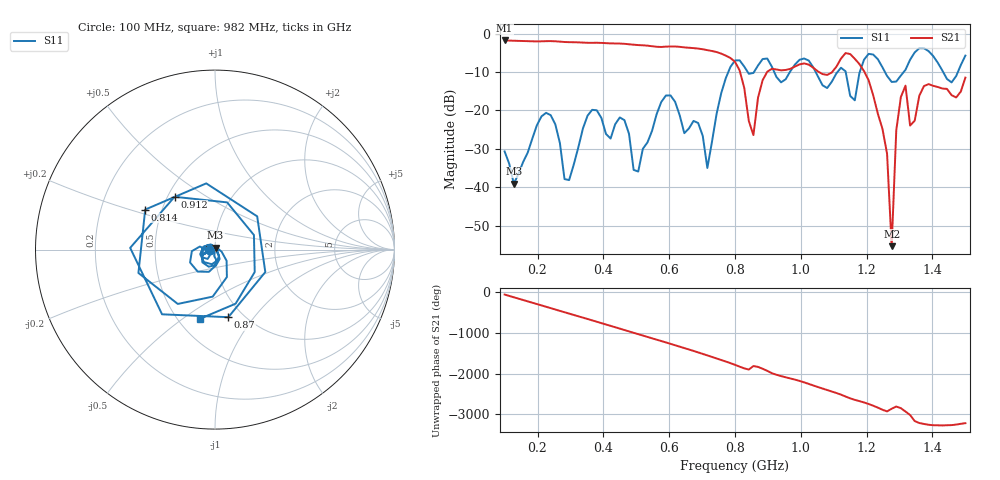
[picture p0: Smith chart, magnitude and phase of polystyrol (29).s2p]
! NanoVNA-App
! Date: 2025-09-25 15:30:07
! Start: 100MHz Stop: 1,5GHz Points: 101
! S-Parameter data: F S11 S21 S12 S22
# Hz S RI R 50
!  Frequency  S11_Real  S11_Imag  S21_Real  S21_Imag  S12_Real  S12_Imag  S22_Real  S22_Imag
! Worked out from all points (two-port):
!   101 points, 100 MHz to 1.5 GHz, reference 50 ohm
!   highest |S21| = -1.80 dB at 100 MHz (marker M1); lowest = -55.4 dB at 1.276 GHz (marker M2)
!   |S21| within 3 dB of the highest: start of sweep to 743 MHz
!   lowest |S11| = -39.1 dB at 128 MHz (marker M3), VSWR 1.02, Z = 50.3 + j1.06 ohm
!   |S11| at or under -10 dB: start of sweep to 779.8 MHz; 1.045 GHz to 1.112 GHz (66.58 MHz wide, 6.17 % of centre); 1.256 GHz to 1.313 GHz (57.23 MHz wide, 4.46 % of centre) (the widest 3 of 7)
!   S12 and S22 are empty: the file has one direction only
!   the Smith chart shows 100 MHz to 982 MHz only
!   S11 on the Smith chart (normalised r, x): 100 MHz: 0.94, -0.01; 814 MHz: 0.40, +0.23; 870 MHz: 0.85, -0.75; 912 MHz: 0.54, +0.37; 982 MHz: 0.64, -0.58
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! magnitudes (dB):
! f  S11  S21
! 100 MHz  -30.7  -1.8
! 128 MHz  -39.1  -1.9
! 212 MHz  -21.6  -2.0
! 282 MHz  -37.9  -2.2
! 338 MHz  -24.7  -2.3
! 506 MHz  -35.9  -3.0
! 576 MHz  -17.8  -3.5
! 716 MHz  -35.0  -4.3
! 800 MHz  -7.0  -7.4
! 814 MHz  -7.0  -9.6
! 856 MHz  -10.3  -26.4
! 870 MHz  -8.3  -16.7
! 912 MHz  -8.6  -9.2
! 982 MHz  -8.1  -8.6
! 1.038 GHz  -8.8  -8.9
! 1.164 GHz  -17.4  -6.6
! 1.206 GHz  -5.3  -12.2
! 1.262 GHz  -11.0  -31.3
! 1.276 GHz  -12.6  -55.4
! 1.29 GHz  -12.5  -25.2
! 1.318 GHz  -9.4  -13.6
! 1.5 GHz  -5.7  -11.5
